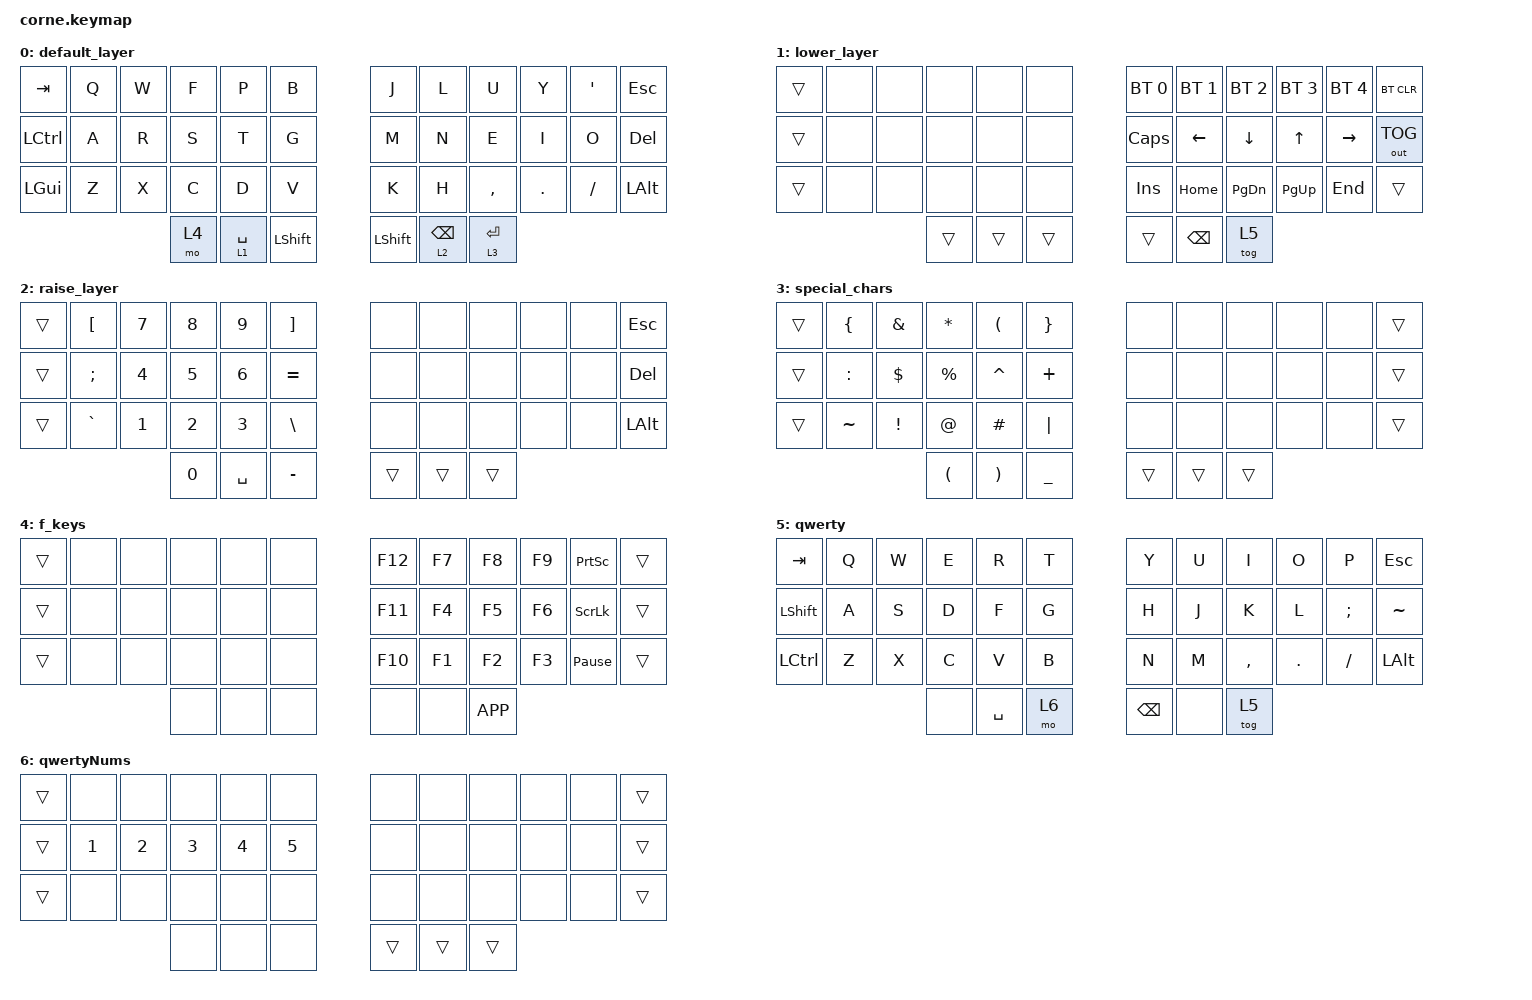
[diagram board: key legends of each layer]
/*
 * Copyright (c) 2020 The ZMK Contributors
 *
 * SPDX-License-Identifier: MIT
 */

#include <behaviors.dtsi>
#include <dt-bindings/zmk/keys.h>
#include <dt-bindings/zmk/bt.h>
#include <dt-bindings/zmk/outputs.h>



/ {
        keymap {
                compatible = "zmk,keymap";

                default_layer {
                        bindings = <    
   &kp TAB      &kp Q   &kp W   &kp F   &kp P   &kp B                                           &kp J   &kp L   &kp U           &kp Y           &kp SQT   	&kp ESC
   &kp LCTRL    &kp A   &kp R   &kp S   &kp T   &kp G                                           &kp M   &kp N   &kp E           &kp I           &kp O	  	&kp DEL
   &kp LGUI     &kp Z   &kp X   &kp C   &kp D   &kp V                                           &kp K   &kp H   &kp COMMA       &kp DOT         &kp FSLH 	&kp LALT
                             &mo 4  &lt 1 SPACE &kp LSHFT                                       &kp LSHFT &lt 2 BSPC &lt 3 RET
                        >;
                };

                lower_layer {
                        bindings = <
   &trans &none     &none    &none    &none &none        &bt BT_SEL 0 &bt BT_SEL 1 &bt BT_SEL 2 &bt BT_SEL 3 &bt BT_SEL 4 &bt BT_CLR
   &trans &none     &none    &none    &none &none        &kp CAPS  &kp LEFT &kp DOWN  &kp UP    &kp RIGHT &out OUT_TOG
   &trans &none     &none    &none    &none &none        &kp INS   &kp HOME &kp PG_DN &kp PG_UP &kp END   &trans
                                 &trans      &trans &trans      &trans        &kp BSPC       &tog 5
                        >;
                };

                raise_layer {
                        bindings = <
   &trans &kp LBKT  &kp N7    &kp N8    &kp N9    &kp RBKT        &none    &none    &none    &none    &none   &kp ESC
   &trans &kp SEMI  &kp N4    &kp N5    &kp N6    &kp EQUAL       &none    &none    &none    &none    &none   &kp DEL
   &trans &kp GRAVE &kp N1    &kp N2    &kp N3    &kp BSLH        &none    &none    &none    &none    &none   &kp LALT
                                &kp N0      &kp SPACE   &kp MINUS    &trans &trans      &trans
                        >;
                };

                special_chars {
                        bindings = <
   &trans &kp LBRC  &kp AMPS  &kp STAR  &kp LPAR  &kp RBRC        &none    &none    &none    &none    &none   &trans
   &trans &kp COLON &kp DLLR  &kp PRCNT &kp CARET &kp PLUS        &none    &none    &none    &none    &none   &trans
   &trans &kp TILDE &kp EXCL  &kp AT    &kp HASH  &kp PIPE        &none    &none    &none    &none    &none   &trans
                                &kp LPAR    &kp RPAR    &kp UNDER    &trans    &trans      &trans
                        >;
                };

                f_keys {
                        bindings = <
   &trans &none     &none    &none    &none &none        &kp F12   &kp F7   &kp F8  &kp F9    &kp PSCRN         &trans
   &trans &none     &none    &none    &none &none        &kp F11   &kp F4   &kp F5  &kp F6    &kp SLCK          &trans
   &trans &none     &none    &none    &none &none        &kp F10   &kp F1   &kp F2  &kp F3    &kp PAUSE_BREAK   &trans
                                 &none      &none   &none  &none        &none       &kp K_APP
                        >;
                };

                qwerty   {
                        bindings = <
   &kp TAB    &kp Q &kp W &kp E &kp R &kp T   &kp Y &kp U  &kp I     &kp O   &kp P      &kp ESC
   &kp LSHFT  &kp A &kp S &kp D &kp F &kp G   &kp H &kp J  &kp K     &kp L   &kp SEMI   &kp TILDE
   &kp LCTRL  &kp Z &kp X &kp C &kp V &kp B   &kp N &kp M  &kp COMMA &kp DOT &kp FSLH   &kp LALT
                        &none  &kp SPACE &mo 6 &kp BSPC &none &tog 5
                        >;
                        
                };

                qwertyNums   {
                        bindings = <
   &trans &none  &none  &none &none  &none        &none    &none    &none    &none    &none   &trans
   &trans &kp N1 &kp N2  &kp N3 &kp N4 &kp N5        &none    &none    &none    &none    &none   &trans
   &trans &none &none  &none    &none &none        &none    &none    &none    &none    &none   &trans
                                &none    &none    &none    &trans    &trans      &trans
                        >;
                        
                };
        };
};
